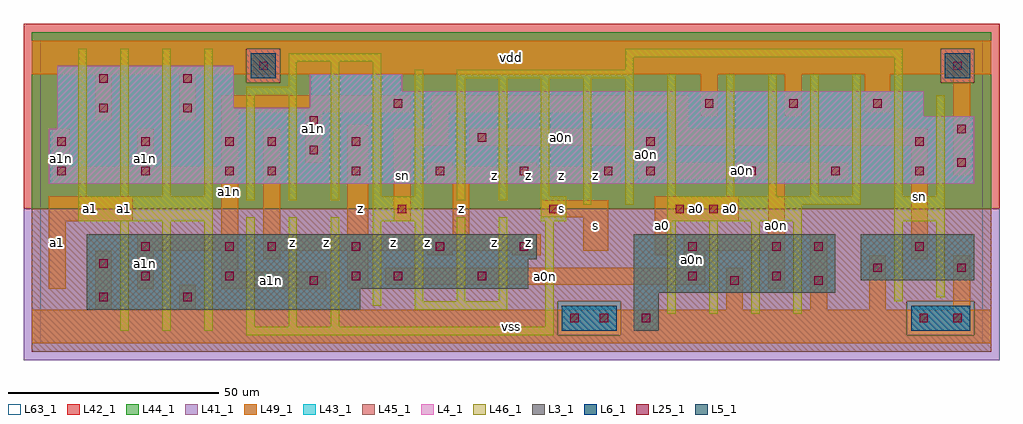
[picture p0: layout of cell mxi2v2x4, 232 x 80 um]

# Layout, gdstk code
import gdstk
lib = gdstk.Library(unit=1e-6, precision=1e-09)
def R(c, l, rs):  # rectangles x0, y0, x1, y1
    for r in rs: c.add(gdstk.rectangle(r[:2], r[2:], *l))
def A(c, l, x, y, w, h, nx, ny, dx, dy):  # array of equal rectangles
    R(c, l, [(x+i*dx, y+j*dy, x+i*dx+w, y+j*dy+h) for i in range(nx) for j in range(ny)])
L3_1 = (3, 1)
L4_1 = (4, 1)
L5_1 = (5, 1)
L6_1 = (6, 1)
L25_1 = (25, 1)
L41_1 = (41, 1)
L42_1 = (42, 1)
L43_1 = (43, 1)
L44_1 = (44, 1)
L45_1 = (45, 1)
L46_1 = (46, 1)
L49_1 = (49, 1)
L63_1 = (63, 1)

mxi2v2x4 = lib.new_cell('mxi2v2x4')
R(mxi2v2x4, L3_1, [(141,3,147,12), (11,8,76,13), (141,12,189,26), (11,13,116,20), (195,15,222,26), (11,20,118,26)])
R(mxi2v2x4, L4_1, [(2,38,222,51), (4,51,222,54), (4,54,210,56), (4,56,46,66), (64,56,210,60), (64,60,86,64)])
R(mxi2v2x4, L5_1, [(50,63,56,69), (215,63,221,69)])
R(mxi2v2x4, L6_1, [(124,3,137,9), (124,3,137,9), (207,3,221,9), (207,3,221,9)])
A(mxi2v2x4, L25_1, 54, 22, 2, 2, 4, 1, 20, 0)
A(mxi2v2x4, L25_1, 4, 40, 2, 2, 3, 2, 20, 7)
A(mxi2v2x4, L25_1, 54, 40, 2, 2, 5, 1, 20, 0)
A(mxi2v2x4, L25_1, 168, 40, 2, 2, 3, 1, 20, 0)
A(mxi2v2x4, L25_1, 158, 56, 2, 2, 3, 1, 20, 0)
R(mxi2v2x4, L25_1, [(126,5,128,7), (133,5,135,7), (143,5,145,7), (209,5,211,7), (217,5,219,7), (14,10,16,12), (34,10,36,12), (64,14,66,16), (164,14,166,16), (184,14,186,16), (24,15,26,17), (44,15,46,17), (74,15,76,17), (84,15,86,17), (104,15,106,17), (154,15,156,17), (174,15,176,17), (198,17,200,19), (218,17,220,19), (14,18,16,20), (24,22,26,24), (44,22,46,24), (154,22,156,24), (174,22,176,24), (184,22,186,24), (208,22,210,24), (11,31,13,33), (19,31,21,33), (85,31,87,33), (121,31,123,33), (151,31,153,33), (159,31,161,33), (144,40,146,42), (218,42,220,44), (64,45,66,47), (54,47,56,49), (74,47,76,49), (144,47,146,49), (208,47,210,49), (104,48,106,50), (124,48,126,50), (218,50,220,52), (64,52,66,54), (14,55,16,57), (34,55,36,57), (84,56,86,58), (14,62,16,64), (34,62,36,64), (52,65,54,67), (217,65,219,67)])
R(mxi2v2x4, L41_1, [(-4,-4,228,32)])
R(mxi2v2x4, L42_1, [(-4,32,228,76)])
R(mxi2v2x4, L43_1, [(124,3,137,9), (141,3,147,12), (207,3,221,9), (11,8,76,13), (141,12,189,26), (11,13,116,20), (195,15,222,26), (11,20,118,26), (2,38,222,51), (4,51,222,54), (4,54,210,56), (4,56,46,66), (64,56,210,60), (64,60,86,64), (50,63,56,69), (215,63,221,69)])
R(mxi2v2x4, L44_1, [(123,2,138,10), (206,2,222,10), (-2,32,226,62), (-2,62,49,70), (57,62,214,70), (222,62,226,70), (-2,70,226,74)])
R(mxi2v2x4, L45_1, [(-2,-2,226,2), (-2,2,123,10), (138,2,206,10), (222,2,226,10), (-2,10,226,32), (49,62,57,70), (214,62,222,70)])
A(mxi2v2x4, L46_1, 19, 3, 2, 26, 3, 1, 10, 0)
A(mxi2v2x4, L46_1, 49, 4, 2, 26, 3, 1, 10, 0)
A(mxi2v2x4, L46_1, 149, 7, 2, 22, 4, 1, 10, 0)
A(mxi2v2x4, L46_1, 9, 35, 2, 35, 4, 1, 10, 0)
A(mxi2v2x4, L46_1, 163, 35, 2, 29, 4, 1, 10, 0)
R(mxi2v2x4, L46_1, [(49,2,122,4), (120,4,122,29), (89,8,111,10), (79,9,81,29), (89,10,91,29), (99,10,101,30), (109,10,111,30), (203,10,205,29), (213,11,215,29), (9,29,41,35), (79,29,91,35), (119,29,125,35), (149,29,181,33), (203,29,215,35), (129,33,131,63), (139,33,141,63), (149,33,195,35), (49,34,51,59), (59,34,61,59), (69,34,71,67), (99,34,101,63), (109,34,111,63), (79,35,81,67), (89,35,91,65), (119,35,121,63), (149,35,151,64), (203,35,205,68), (213,35,215,59), (49,59,61,61), (59,61,61,67), (99,63,141,65), (139,65,141,68), (59,67,81,69), (139,68,205,70)])
A(mxi2v2x4, L49_1, 92, 42, 6, 1, 3, 1, 20, 0)
R(mxi2v2x4, L49_1, [(-2,0,226,8), (13,8,17,22), (33,8,37,14), (163,8,167,18), (183,8,187,26), (197,8,201,21), (217,8,221,21), (2,13,6,29), (23,13,27,22), (43,13,68,17), (73,13,78,22), (173,13,177,22), (82,14,158,18), (43,17,47,22), (153,18,158,22), (53,20,57,22), (207,20,211,47), (92,21,98,22), (112,21,119,22), (146,21,150,29), (23,22,47,26), (53,22,119,26), (129,22,135,30), (153,22,177,26), (43,26,47,38), (53,26,57,51), (73,26,78,52), (98,26,102,38), (173,26,177,39), (2,29,22,35), (84,29,88,47), (146,29,166,35), (119,30,135,34), (3,38,47,42), (92,38,138,42), (142,39,192,43), (217,40,221,64), (3,42,7,51), (23,42,27,51), (43,42,47,55), (63,43,67,55), (142,43,147,47), (84,47,97,51), (102,47,147,51), (150,47,211,51), (93,51,97,55), (150,51,154,55), (13,53,17,64), (33,53,37,64), (157,54,161,64), (177,54,181,64), (43,55,88,59), (93,55,154,59), (196,55,202,64), (-2,64,226,72)])
R(mxi2v2x4, L63_1, [(0,0,224,72)])
mxi2v2x4.add(gdstk.Label('a1n', (25,19), layer=49, texttype=1))
mxi2v2x4.add(gdstk.Label('a1', (4,24), layer=49, texttype=1))
mxi2v2x4.add(gdstk.Label('a1', (12,32), layer=49, texttype=1))
mxi2v2x4.add(gdstk.Label('a1', (20,32), layer=49, texttype=1))
mxi2v2x4.add(gdstk.Label('a1n', (5,44), layer=49, texttype=1))
mxi2v2x4.add(gdstk.Label('a1n', (25,44), layer=49, texttype=1))
mxi2v2x4.add(gdstk.Label('a1n', (55,15), layer=49, texttype=1))
mxi2v2x4.add(gdstk.Label('z', (60,24), layer=49, texttype=1))
mxi2v2x4.add(gdstk.Label('z', (68,24), layer=49, texttype=1))
mxi2v2x4.add(gdstk.Label('z', (84,24), layer=49, texttype=1))
mxi2v2x4.add(gdstk.Label('z', (76,32), layer=49, texttype=1))
mxi2v2x4.add(gdstk.Label('sn', (86,40), layer=49, texttype=1))
mxi2v2x4.add(gdstk.Label('a1n', (45,36), layer=49, texttype=1))
mxi2v2x4.add(gdstk.Label('a1n', (65,51), layer=49, texttype=1))
mxi2v2x4.add(gdstk.Label('vss', (112,4), layer=49, texttype=1))
mxi2v2x4.add(gdstk.Label('z', (92,24), layer=49, texttype=1))
mxi2v2x4.add(gdstk.Label('z', (108,24), layer=49, texttype=1))
mxi2v2x4.add(gdstk.Label('z', (116,24), layer=49, texttype=1))
mxi2v2x4.add(gdstk.Label('z', (100,32), layer=49, texttype=1))
mxi2v2x4.add(gdstk.Label('s', (124,32), layer=49, texttype=1))
mxi2v2x4.add(gdstk.Label('s', (132,28), layer=49, texttype=1))
mxi2v2x4.add(gdstk.Label('z', (108,40), layer=49, texttype=1))
mxi2v2x4.add(gdstk.Label('z', (116,40), layer=49, texttype=1))
mxi2v2x4.add(gdstk.Label('z', (124,40), layer=49, texttype=1))
mxi2v2x4.add(gdstk.Label('z', (132,40), layer=49, texttype=1))
mxi2v2x4.add(gdstk.Label('vdd', (112,68), layer=49, texttype=1))
mxi2v2x4.add(gdstk.Label('a0n', (155,20), layer=49, texttype=1))
mxi2v2x4.add(gdstk.Label('a0n', (120,16), layer=49, texttype=1))
mxi2v2x4.add(gdstk.Label('a0', (164,32), layer=49, texttype=1))
mxi2v2x4.add(gdstk.Label('a0', (156,32), layer=49, texttype=1))
mxi2v2x4.add(gdstk.Label('a0', (148,28), layer=49, texttype=1))
mxi2v2x4.add(gdstk.Label('a0n', (144,45), layer=49, texttype=1))
mxi2v2x4.add(gdstk.Label('a0n', (175,28), layer=49, texttype=1))
mxi2v2x4.add(gdstk.Label('a0n', (124,49), layer=49, texttype=1))
mxi2v2x4.add(gdstk.Label('a0n', (167,41), layer=49, texttype=1))
mxi2v2x4.add(gdstk.Label('sn', (209,35), layer=49, texttype=1))

lib.write_gds('mxi2v2x4.gds')
